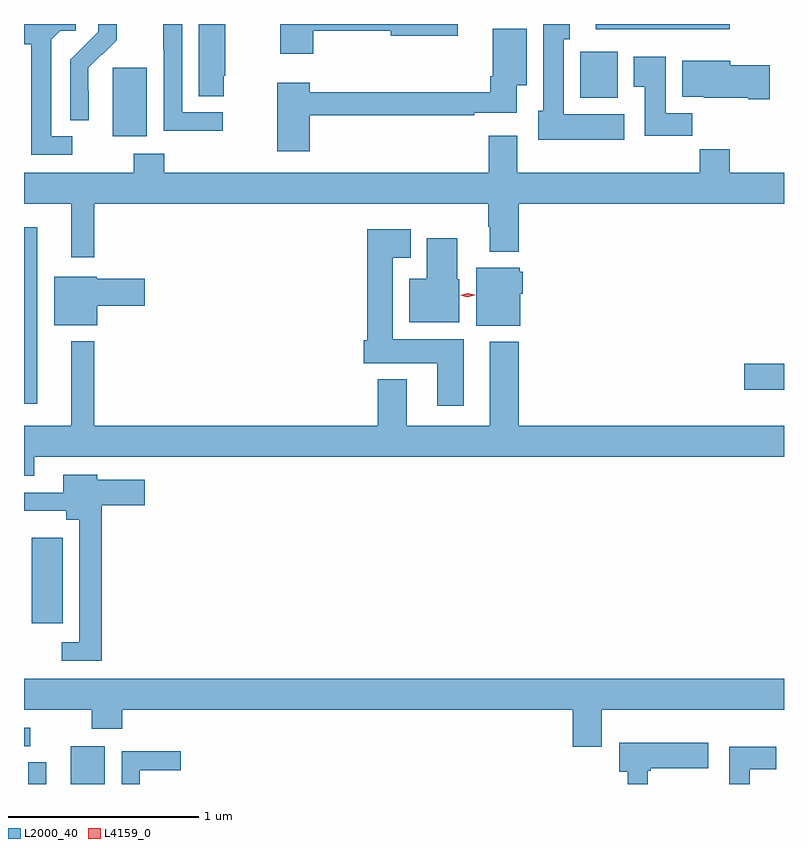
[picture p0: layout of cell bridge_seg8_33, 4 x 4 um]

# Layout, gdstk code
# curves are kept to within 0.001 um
import gdstk
lib = gdstk.Library(unit=1e-6, precision=1e-09)
def R(c, l, rs):  # rectangles x0, y0, x1, y1
    for r in rs: c.add(gdstk.rectangle(r[:2], r[2:], *l))
def P(c, l, *ps):  # polygons
    for p in ps: c.add(gdstk.Polygon(p, *l))
L2000_40 = (2000, 40)
L4159_0 = (4159, 0)

bridge_seg8_33 = lib.new_cell('bridge_seg8_33')
R(bridge_seg8_33, L2000_40, [(1082.868,1125.434,1082.964,1125.548), (1083.092,1125.434,1083.271,1125.634), (1082.846,1125.633,1082.878,1125.729), (1082.888,1126.281,1083.049,1126.729), (1082.846,1127.435,1082.917,1128.364), (1086.636,1127.51,1086.846,1127.645), (1083.314,1128.842,1083.493,1129.203), (1085.774,1129.046,1085.971,1129.288), (1085.855,1129.406,1086.56,1129.434)])
P(bridge_seg8_33, L2000_40, [(1084.368,1129.398),(1084.775,1129.398),(1084.775,1129.372),(1085.128,1129.372),(1085.128,1129.434),(1084.195,1129.434),(1084.195,1129.278),(1084.368,1129.278)],
  [(1083.892,1128.969),(1083.678,1128.969),(1083.678,1129.434),(1083.58,1129.434),(1083.58,1129.3),(1083.582,1129.3),(1083.582,1128.871),(1083.892,1128.871)],
  [(1083.186,1129.082),(1083.185,1129.205),(1083.255,1129.275),(1083.258,1129.272),(1083.335,1129.349),(1083.335,1129.434),(1083.236,1129.434),(1083.236,1129.394),(1083.09,1129.246),(1083.09,1128.928),(1083.186,1128.928)],
  [(1083.898,1129.162),(1083.906,1129.162),(1083.906,1129.434),(1083.767,1129.434),(1083.767,1129.054),(1083.898,1129.054)],
  [(1083.1,1128.843),(1082.989,1128.843),(1082.989,1129.351),(1083.036,1129.398),(1083.118,1129.398),(1083.118,1129.434),(1082.846,1129.434),(1082.846,1129.328),(1082.885,1129.328),(1082.885,1128.747),(1083.1,1128.747)],
  [(1086.004,1128.958),(1085.686,1128.958),(1085.686,1129.355),(1085.719,1129.355),(1085.719,1129.434),(1085.579,1129.434),(1085.579,1128.978),(1085.552,1128.978),(1085.552,1128.824),(1086.004,1128.824)],
  [(1084.349,1128.954),(1085.216,1128.954),(1085.216,1128.966),(1085.44,1128.966),(1085.44,1129.112),(1085.491,1129.112),(1085.491,1129.408),(1085.312,1129.408),(1085.312,1129.159),(1085.3,1129.159),(1085.3,1129.075),(1084.349,1129.075),(1084.349,1129.126),(1084.178,1129.126),(1084.178,1128.765),(1084.349,1128.765)],
  [(1086.362,1128.964),(1086.223,1128.964),(1086.223,1129.261),(1086.056,1129.261),(1086.056,1129.105),(1086.113,1129.105),(1086.113,1128.846),(1086.362,1128.846)],
  [(1086.772,1129.217),(1086.562,1129.217),(1086.562,1129.24),(1086.311,1129.24),(1086.311,1129.052),(1086.423,1129.052),(1086.423,1129.046),(1086.659,1129.046),(1086.659,1129.039),(1086.772,1129.039)],
  [(1083.217,1128.488),(1085.29,1128.488),(1085.29,1128.368),(1085.297,1128.368),(1085.297,1128.236),(1085.45,1128.236),(1085.45,1128.488),(1086.846,1128.488),(1086.846,1128.652),(1086.56,1128.652),(1086.56,1128.776),(1086.403,1128.776),(1086.403,1128.652),(1085.443,1128.652),(1085.443,1128.847),(1085.291,1128.847),(1085.291,1128.652),(1083.584,1128.652),(1083.584,1128.751),(1083.424,1128.751),(1083.424,1128.652),(1082.846,1128.652),(1082.846,1128.488),(1083.095,1128.488),(1083.095,1128.207),(1083.217,1128.207)],
  [(1085.161,1127.776),(1084.786,1127.776),(1084.786,1128.203),(1084.882,1128.203),(1084.882,1128.355),(1084.652,1128.355),(1084.652,1127.769),(1084.634,1127.769),(1084.634,1127.648),(1085.021,1127.648),(1085.021,1127.424),(1085.161,1127.424)],
  [(1085.137,1128.09),(1085.125,1128.09),(1085.125,1128.307),(1084.967,1128.307),(1084.967,1128.094),(1084.874,1128.094),(1084.874,1127.864),(1085.137,1127.864)],
  [(1085.458,1128.015),(1085.47,1128.015),(1085.47,1128.129),(1085.454,1128.129),(1085.454,1128.151),(1085.225,1128.151),(1085.225,1127.846),(1085.458,1127.846)],
  [(1083.232,1127.951),(1083.481,1127.951),(1083.481,1128.093),(1083.228,1128.093),(1083.228,1128.103),(1083.005,1128.103),(1083.005,1127.849),(1083.232,1127.849)],
  [(1082.899,1127.156),(1086.846,1127.156),(1086.846,1127.32),(1085.45,1127.32),(1085.45,1127.761),(1085.297,1127.761),(1085.297,1127.32),(1084.861,1127.32),(1084.861,1127.563),(1084.709,1127.563),(1084.709,1127.32),(1083.217,1127.32),(1083.217,1127.764),(1083.095,1127.764),(1083.095,1127.32),(1082.846,1127.32),(1082.846,1127.057),(1082.899,1127.057)],
  [(1083.254,1126.901),(1083.481,1126.901),(1083.481,1127.035),(1083.231,1127.035),(1083.231,1127.062),(1083.053,1127.062),(1083.053,1126.968),(1082.846,1126.968),(1082.846,1126.872),(1083.068,1126.872),(1083.068,1126.826),(1083.138,1126.826),(1083.138,1126.179),(1083.045,1126.179),(1083.045,1126.083),(1083.254,1126.083)],
  [(1085.887,1125.824),(1086.846,1125.824),(1086.846,1125.988),(1082.846,1125.988),(1082.846,1125.824),(1083.202,1125.824),(1083.202,1125.725),(1083.362,1125.725),(1083.362,1125.824),(1085.735,1125.824),(1085.735,1125.63),(1085.887,1125.63)],
  [(1086.13,1125.505),(1086.144,1125.505),(1086.144,1125.518),(1086.448,1125.518),(1086.448,1125.652),(1085.978,1125.652),(1085.978,1125.498),(1086.023,1125.498),(1086.023,1125.434),(1086.13,1125.434)],
  [(1086.667,1125.512),(1086.806,1125.512),(1086.806,1125.631),(1086.557,1125.631),(1086.557,1125.434),(1086.667,1125.434)],
  [(1083.456,1125.507),(1083.67,1125.507),(1083.67,1125.606),(1083.36,1125.606),(1083.36,1125.434),(1083.456,1125.434)])
P(bridge_seg8_33, L4159_0, [(1085.18,1127.997),(1085.143,1128.007),(1085.143,1128.007),(1085.143,1128.007),(1085.18,1128.017),(1085.218,1128.008),(1085.218,1128.008),(1085.218,1128.007)])

lib.write_gds('bridge_seg8_33.gds')
